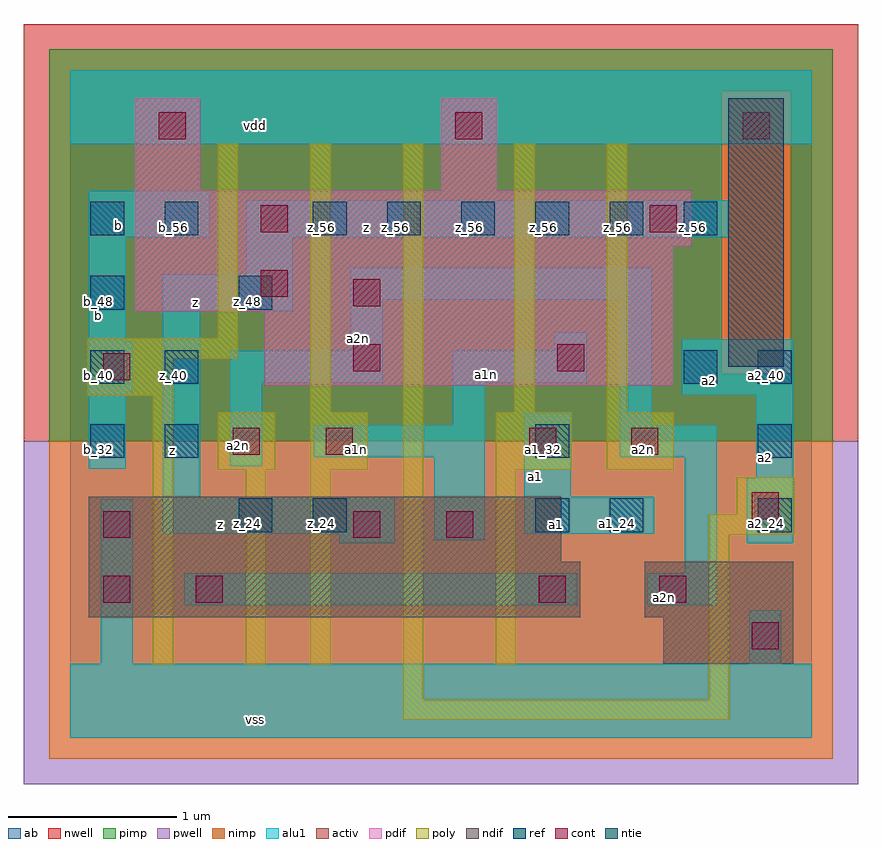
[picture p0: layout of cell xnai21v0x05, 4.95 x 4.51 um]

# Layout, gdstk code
import gdstk
lib = gdstk.Library(unit=1e-6, precision=2.5e-09)
def R(c, l, rs):  # rectangles x0, y0, x1, y1
    for r in rs: c.add(gdstk.rectangle(r[:2], r[2:], *l))
def A(c, l, x, y, w, h, nx, ny, dx, dy):  # array of equal rectangles
    R(c, l, [(x+i*dx, y+j*dy, x+i*dx+w, y+j*dy+h) for i in range(nx) for j in range(ny)])
ndif = (3, 0)
pdif = (4, 0)
ntie = (5, 0)
ref = (24, 0)
cont = (25, 0)
pwell = (41, 0)
nwell = (42, 0)
activ = (43, 0)
pimp = (44, 0)
nimp = (45, 0)
poly = (46, 0)
alu1 = (49, 0)
ab = (63, 0)

xnai21v0x05 = lib.new_cell('xnai21v0x05')
R(xnai21v0x05, ndif, [(3.52,0.44,4.29,0.715), (0.11,0.715,3.025,1.045), (3.41,0.715,4.29,1.045), (0.11,1.045,2.915,1.43)])
R(xnai21v0x05, pdif, [(1.155,2.09,3.575,2.53), (0.385,2.53,3.575,2.915), (0.385,2.915,3.685,3.245), (0.385,3.245,0.77,3.795), (2.2,3.245,2.53,3.795)])
R(xnai21v0x05, ntie, [(3.905,2.2,4.235,3.795)])
A(xnai21v0x05, ref, 4.08, 1.22, 0.2, 0.2, 1, 3, 0, 0.44)
A(xnai21v0x05, ref, 0.12, 1.66, 0.2, 0.2, 1, 4, 0, 0.44)
A(xnai21v0x05, ref, 1.44, 2.98, 0.2, 0.2, 6, 1, 0.44, 0)
R(xnai21v0x05, ref, [(1,1.22,1.2,1.42), (1.44,1.22,1.64,1.42), (2.76,1.22,2.96,1.42), (3.2,1.22,3.4,1.42), (0.56,1.66,0.76,1.86), (2.76,1.66,2.96,1.86), (0.56,2.1,0.76,2.3), (3.64,2.1,3.84,2.3), (1,2.54,1.2,2.74), (0.56,2.98,0.76,3.18)])
R(xnai21v0x05, cont, [(4.045,0.525,4.205,0.685), (0.195,0.8,0.355,0.96), (0.745,0.8,0.905,0.96), (2.78,0.8,2.94,0.96), (3.495,0.8,3.655,0.96), (0.195,1.185,0.355,1.345), (1.68,1.185,1.84,1.345), (2.23,1.185,2.39,1.345), (4.045,1.295,4.205,1.455), (0.965,1.68,1.125,1.84), (1.515,1.68,1.675,1.84), (2.725,1.68,2.885,1.84), (3.33,1.68,3.49,1.84), (0.195,2.12,0.355,2.28), (1.68,2.175,1.84,2.335), (2.89,2.175,3.05,2.335), (1.68,2.56,1.84,2.72), (1.13,2.615,1.29,2.775), (1.13,3,1.29,3.16), (3.44,3,3.6,3.16), (0.525,3.55,0.685,3.71), (2.285,3.55,2.445,3.71), (3.99,3.55,4.15,3.71)])
R(xnai21v0x05, pwell, [(-0.275,-0.275,4.675,1.76)])
R(xnai21v0x05, nwell, [(-0.275,1.76,4.675,4.235)])
R(xnai21v0x05, activ, [(3.52,0.44,4.29,0.715), (0.11,0.715,3.025,1.045), (3.41,0.715,4.29,1.045), (0.11,1.045,2.915,1.43), (1.155,2.09,3.575,2.53), (3.905,2.2,4.235,3.795), (0.385,2.53,3.575,2.915), (0.385,2.915,3.685,3.245), (0.385,3.245,0.77,3.795), (2.2,3.245,2.53,3.795)])
R(xnai21v0x05, pimp, [(-0.125,1.76,4.525,2.16), (-0.125,2.16,3.865,3.835), (4.275,2.16,4.525,3.835), (-0.125,3.835,4.525,4.085)])
R(xnai21v0x05, nimp, [(-0.125,-0.125,4.525,1.76), (3.865,2.16,4.275,3.835)])
R(xnai21v0x05, poly, [(1.975,0.105,3.91,0.225), (1.975,0.225,2.095,3.525), (3.79,0.225,3.91,1.205), (0.49,0.435,0.61,2.03), (1.04,0.435,1.16,1.59), (1.425,0.435,1.545,1.59), (2.525,0.435,2.645,1.59), (3.79,1.205,4.295,1.325), (3.955,1.325,4.295,1.545), (0.875,1.59,1.215,1.93), (1.425,1.59,1.765,1.93), (2.525,1.59,2.975,1.93), (3.185,1.59,3.58,1.93), (1.425,1.93,1.545,3.525), (2.635,1.93,2.755,3.525), (3.185,1.93,3.305,3.525), (0.105,2.03,0.61,2.25), (0.105,2.25,0.995,2.37), (0.875,2.37,0.995,3.525)])
R(xnai21v0x05, alu1, [(0,0,4.4,0.44), (0.18,0.44,0.37,1.415), (4.03,0.44,4.22,0.755), (0.675,0.785,3.01,0.975), (3.425,0.785,3.835,0.975), (3.645,0.975,3.835,1.665), (1.595,1.155,1.925,1.21), (4.015,1.155,4.29,1.54), (2.16,1.17,2.46,1.665), (0.55,1.21,1.925,1.43), (2.695,1.21,3.465,1.43), (0.55,1.43,0.77,2.53), (2.695,1.43,2.97,1.925), (4.07,1.54,4.29,2.035), (0.11,1.595,0.33,2.05), (0.95,1.61,1.14,2.105), (1.445,1.665,2.46,1.855), (3.26,1.665,3.835,1.855), (2.27,1.855,2.46,2.105), (3.26,1.855,3.45,2.6), (3.63,2.035,4.29,2.365), (0.11,2.05,0.37,2.35), (0.95,2.105,1.855,2.295), (2.27,2.105,3.065,2.295), (1.665,2.295,1.855,2.6), (2.875,2.295,3.065,2.405), (0.11,2.35,0.33,2.97), (0.55,2.53,1.32,2.75), (1.665,2.6,3.45,2.79), (1.045,2.75,1.32,2.97), (0.11,2.97,0.825,3.245), (1.045,2.97,3.905,3.19), (0,3.52,4.4,3.96)])
R(xnai21v0x05, ab, [(0,0,4.4,3.96)])
xnai21v0x05.add(gdstk.Label('vss', (1.1,0.11), layer=49, texttype=0))
xnai21v0x05.add(gdstk.Label('a2n', (3.5275,0.8325), layer=49, texttype=0))
xnai21v0x05.add(gdstk.Label('a2', (4.125,1.6625), layer=49, texttype=0))
xnai21v0x05.add(gdstk.Label('a1', (2.8875,1.265), layer=49, texttype=0))
xnai21v0x05.add(gdstk.Label('a2n', (3.4025,1.7125), layer=49, texttype=0))
xnai21v0x05.add(gdstk.Label('a2', (3.795,2.1175), layer=49, texttype=0))
xnai21v0x05.add(gdstk.Label('a1', (2.7625,1.5525), layer=49, texttype=0))
xnai21v0x05.add(gdstk.Label('z', (0.8925,1.265), layer=49, texttype=0))
xnai21v0x05.add(gdstk.Label('a1n', (1.6975,1.7125), layer=49, texttype=0))
xnai21v0x05.add(gdstk.Label('a2n', (0.9975,1.7325), layer=49, texttype=0))
xnai21v0x05.add(gdstk.Label('a1n', (2.4675,2.1525), layer=49, texttype=0))
xnai21v0x05.add(gdstk.Label('a2n', (1.7125,2.37), layer=49, texttype=0))
xnai21v0x05.add(gdstk.Label('z', (0.605,1.705), layer=49, texttype=0))
xnai21v0x05.add(gdstk.Label('z', (0.7425,2.585), layer=49, texttype=0))
xnai21v0x05.add(gdstk.Label('b', (0.165,2.505), layer=49, texttype=0))
xnai21v0x05.add(gdstk.Label('z', (1.76,3.025), layer=49, texttype=0))
xnai21v0x05.add(gdstk.Label('b', (0.2875,3.0375), layer=49, texttype=0))
xnai21v0x05.add(gdstk.Label('vdd', (1.1,3.63), layer=49, texttype=0))
xnai21v0x05.add(gdstk.Label('z_56', (3.69,3.03), layer=24, texttype=0))
xnai21v0x05.add(gdstk.Label('z_56', (2.81,3.03), layer=24, texttype=0))
xnai21v0x05.add(gdstk.Label('z_56', (2.37,3.03), layer=24, texttype=0))
xnai21v0x05.add(gdstk.Label('z_56', (1.93,3.03), layer=24, texttype=0))
xnai21v0x05.add(gdstk.Label('z_56', (1.49,3.03), layer=24, texttype=0))
xnai21v0x05.add(gdstk.Label('z_56', (3.25,3.03), layer=24, texttype=0))
xnai21v0x05.add(gdstk.Label('a1_32', (2.81,1.71), layer=24, texttype=0))
xnai21v0x05.add(gdstk.Label('z_48', (1.05,2.59), layer=24, texttype=0))
xnai21v0x05.add(gdstk.Label('b_32', (0.17,1.71), layer=24, texttype=0))
xnai21v0x05.add(gdstk.Label('z_32', (0.61,1.71), layer=24, texttype=0))
xnai21v0x05.add(gdstk.Label('b_40', (0.17,2.15), layer=24, texttype=0))
xnai21v0x05.add(gdstk.Label('z_40', (0.61,2.15), layer=24, texttype=0))
xnai21v0x05.add(gdstk.Label('z_24', (1.49,1.27), layer=24, texttype=0))
xnai21v0x05.add(gdstk.Label('b_48', (0.17,2.59), layer=24, texttype=0))
xnai21v0x05.add(gdstk.Label('b_56', (0.61,3.03), layer=24, texttype=0))
xnai21v0x05.add(gdstk.Label('b_56', (0.17,3.03), layer=24, texttype=0))
xnai21v0x05.add(gdstk.Label('z_24', (1.05,1.27), layer=24, texttype=0))
xnai21v0x05.add(gdstk.Label('a1_24', (2.81,1.27), layer=24, texttype=0))
xnai21v0x05.add(gdstk.Label('a1_24', (3.25,1.27), layer=24, texttype=0))
xnai21v0x05.add(gdstk.Label('a2_24', (4.13,1.27), layer=24, texttype=0))
xnai21v0x05.add(gdstk.Label('a2_40', (4.13,2.15), layer=24, texttype=0))
xnai21v0x05.add(gdstk.Label('a2_40', (3.69,2.15), layer=24, texttype=0))
xnai21v0x05.add(gdstk.Label('a2_32', (4.13,1.71), layer=24, texttype=0))

lib.write_gds('xnai21v0x05.gds')
